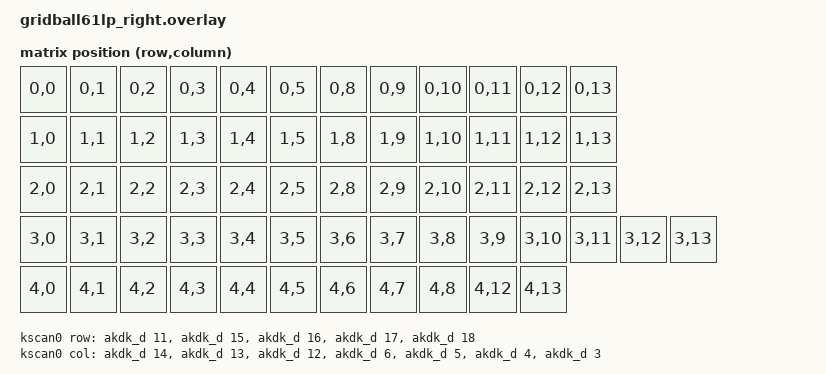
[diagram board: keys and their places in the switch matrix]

#include <dt-bindings/zmk/matrix_transform.h>
#include <input/processors.dtsi>
#include <dt-bindings/zmk/input_transform.h>
#include "layouts.dtsi"

/ {
    chosen {
        zmk,physical-layout = &physical_layout0;
    };

    default_transform: keymap_transform_0 {
        compatible = "zmk,matrix-transform";
        columns = <14>;
        rows = <5>;
        map = <
            RC(0,0) RC(0,1) RC(0,2) RC(0,3) RC(0,4) RC(0,5) RC(0,8) RC(0,9) RC(0,10) RC(0,11) RC(0,12) RC(0,13)
			RC(1,0) RC(1,1) RC(1,2) RC(1,3) RC(1,4) RC(1,5) RC(1,8) RC(1,9) RC(1,10) RC(1,11) RC(1,12) RC(1,13)
			RC(2,0) RC(2,1) RC(2,2) RC(2,3) RC(2,4) RC(2,5) RC(2,8) RC(2,9) RC(2,10) RC(2,11) RC(2,12) RC(2,13)
			RC(3,0) RC(3,1) RC(3,2) RC(3,3) RC(3,4) RC(3,5) RC(3,6) RC(3,7) RC(3,8) RC(3,9) RC(3,10) RC(3,11) RC(3,12) RC(3,13)
			RC(4,0) RC(4,1) RC(4,2) RC(4,3) RC(4,4) RC(4,5) RC(4,6) RC(4,7) RC(4,8) RC(4,12) RC(4,13)
        >;
		col-offset = <7>;
    };

    kscan0: kscan {
        compatible = "zmk,kscan-gpio-matrix";
        wakeup-source;

        diode-direction = "col2row";
        row-gpios
            = <&akdk_d 11 (GPIO_ACTIVE_HIGH | GPIO_PULL_DOWN)>
			,<&akdk_d 15 (GPIO_ACTIVE_HIGH | GPIO_PULL_DOWN)>
			,<&akdk_d 16 (GPIO_ACTIVE_HIGH | GPIO_PULL_DOWN)>
			,<&akdk_d 17 (GPIO_ACTIVE_HIGH | GPIO_PULL_DOWN)>
			,<&akdk_d 18 (GPIO_ACTIVE_HIGH | GPIO_PULL_DOWN)>
            ;
        col-gpios
            = <&akdk_d 14 GPIO_ACTIVE_HIGH>
			,<&akdk_d 13 GPIO_ACTIVE_HIGH>
			,<&akdk_d 12 GPIO_ACTIVE_HIGH>
			,<&akdk_d 6 GPIO_ACTIVE_HIGH>
			,<&akdk_d 5 GPIO_ACTIVE_HIGH>
			,<&akdk_d 4 GPIO_ACTIVE_HIGH>
			,<&akdk_d 3 GPIO_ACTIVE_HIGH>
            ;
    };

    /* 標準の zip_xy_to_scroll_mapper は X→HWHEEL / Y→WHEEL の両方を出すので
     * 斜めに転がすと縦横が混ざる。ここでは軸を片方だけ通すマッパーを定義する。
     * 捨てたい軸は INPUT_REL_MISC に飛ばす — input listener は X/Y/WHEEL/HWHEEL
     * 以外の rel コードを何もせず読み捨てるので、確実にゼロになる。
     */
    zip_y_to_vscroll_only: zip_y_to_vscroll_only {
        compatible = "zmk,input-processor-code-mapper";
        #input-processor-cells = <0>;
        type = <INPUT_EV_REL>;
        map = <INPUT_REL_Y INPUT_REL_WHEEL>, <INPUT_REL_X INPUT_REL_MISC>;
    };

    /* 横スクロールもボールを縦 (前後) に転がして操作したいので、Y 軸を
     * HWHEEL に割り当てる。X 軸は捨てる。
     */
    zip_y_to_hscroll_only: zip_y_to_hscroll_only {
        compatible = "zmk,input-processor-code-mapper";
        #input-processor-cells = <0>;
        type = <INPUT_EV_REL>;
        map = <INPUT_REL_Y INPUT_REL_HWHEEL>, <INPUT_REL_X INPUT_REL_MISC>;
    };

    trackball_listener: trackball_listener {
        compatible = "zmk,input-listener";
        device = <&trackball>;
        /* Sensor is mounted rotated 180 degrees, which already inverts both
         * axes, so no additional X/Y inversion is applied here.
         *
         * zip_xy_scaler <mult div> でカーソル感度を調整する (端数は内部で
         * 保持されるので、遅い動きの精度は落ちない)。
         *   1 2 = 1/2 (既定, 感度半分) / 1 3 = 1/3 (さらに遅く) / 2 3 = 2/3
         * さらに大きく下げたい場合は下の trackball ノードに
         * res-cpi = <608>; (最小値) を追加してセンサ側の解像度も落とす。
         */
        input-processors = <&zip_xy_transform 0>, <&zip_xy_scaler 1 2>;

        /* mo 2 (layer 2) を押している間はトラックボールをスクロールにする。
         * 一致した override が処理されると base の processors は実行されない
         * ため、ここに必要な processor をすべて並べている。
         * INPUT_TRANSFORM_Y_INVERT: ボールを前に転がすと上方向スクロール。
         *   逆方向が好みなら 0 に変更する。
         * zip_scroll_scaler <mult div>: div を大きくするとスクロールが遅くなる。
         *
         * 縦と横は完全に排他。既定は縦スクロールのみで、layer 2 の Shift 位置に
         * 置いた &mo 5 (= layer 5) を押している間だけ横スクロールのみになる。
         * 横スクロールもボールは縦 (前後) に転がす: 前に転がすと右方向。
         * 逆が好みなら h_scroller の INPUT_TRANSFORM_Y_INVERT を 0 にする。
         *
         * !! override は「最初にマッチしたもの」だけが実行される。layer 2 と
         *    layer 5 は同時に有効になるので、横 (layer 5) を必ず先に書くこと。
         */
        h_scroller {
            layers = <5>;
            input-processors = <&zip_xy_transform INPUT_TRANSFORM_Y_INVERT>,
                               <&zip_y_to_hscroll_only>,
                               <&zip_scroll_scaler 1 30>;
        };

        v_scroller {
            layers = <2>;
            input-processors = <&zip_xy_transform INPUT_TRANSFORM_Y_INVERT>,
                               <&zip_y_to_vscroll_only>,
                               <&zip_scroll_scaler 1 30>;
        };
    };
};

&physical_layout0 {
    kscan = <&kscan0>;
    transform = <&default_transform>;
};

&pinctrl {
    spi0_default: spi0_default {
        group1 {
            psels = <NRF_PSEL(SPIM_SCK, 0, 12)>,
                <NRF_PSEL(SPIM_MOSI, 1, 9)>,
                <NRF_PSEL(SPIM_MISO, 1, 9)>;
        };
    };

    spi0_sleep: spi0_sleep {
        group1 {
            psels = <NRF_PSEL(SPIM_SCK, 0, 12)>,
                <NRF_PSEL(SPIM_MOSI, 1, 9)>,
                <NRF_PSEL(SPIM_MISO, 1, 9)>;
            low-power-enable;
        };
    };
};

&spi0 {
    status = "okay";
    compatible = "nordic,nrf-spim";
    pinctrl-0 = <&spi0_default>;
    pinctrl-1 = <&spi0_sleep>;
    pinctrl-names = "default", "sleep";
    cs-gpios = <&gpio0 13 GPIO_ACTIVE_LOW>;

    trackball: trackball@0 {
        status = "okay";
        compatible = "pixart,paw3222";
        reg = <0>;
        spi-max-frequency = <2000000>;
        irq-gpios = <&gpio0 15 GPIO_ACTIVE_LOW>;
    };
};

